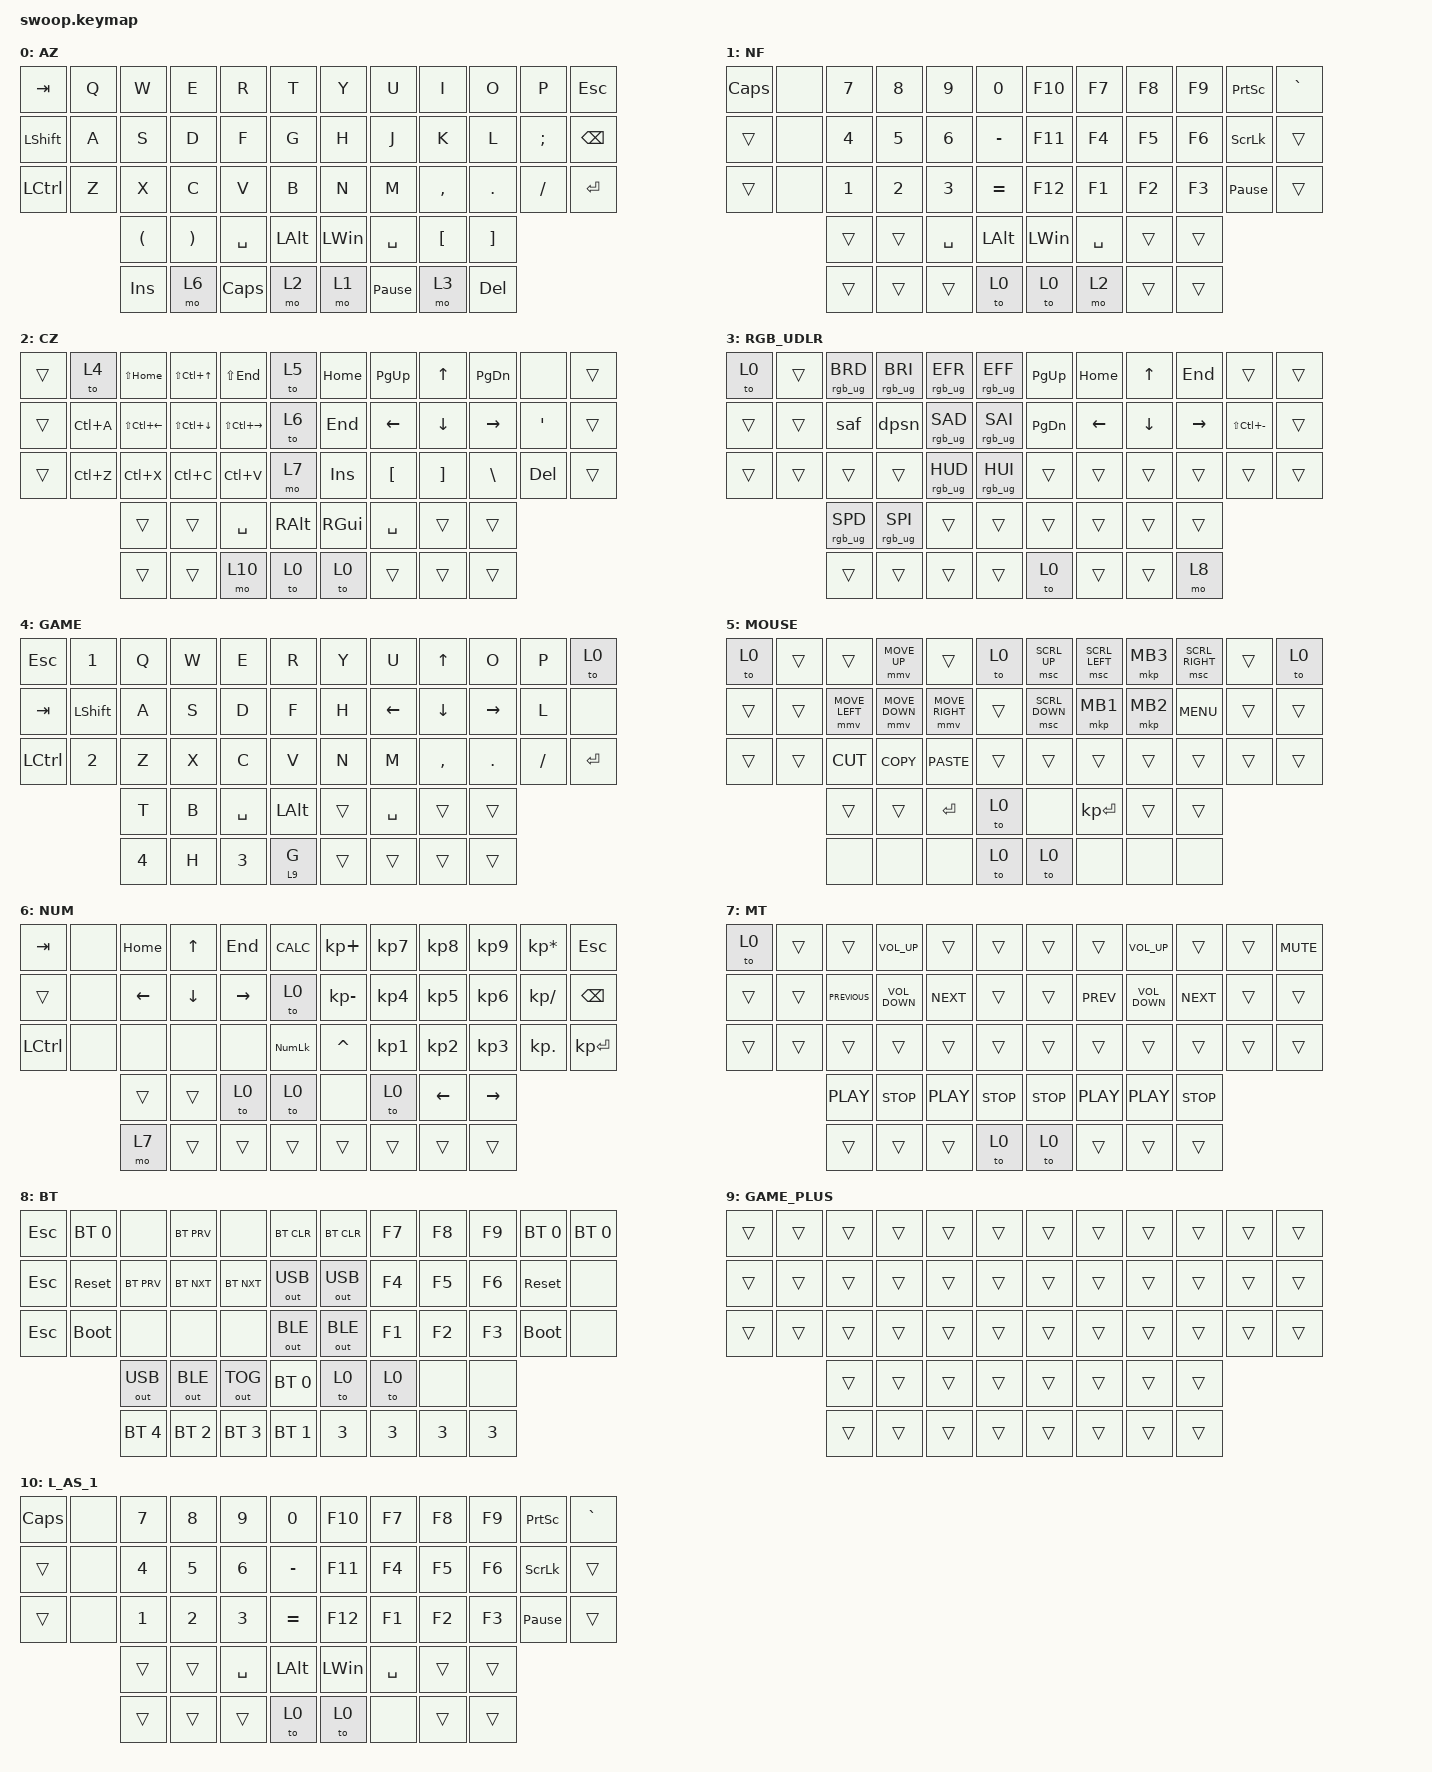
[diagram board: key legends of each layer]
#define ZMK_POINTING_DEFAULT_MOVE_VAL 600  // default: 600
#define ZMK_POINTING_DEFAULT_SCRL_VAL 10    // default: 10

#include <behaviors.dtsi>
#include <dt-bindings/zmk/bt.h>
#include <dt-bindings/zmk/keys.h>
#include <dt-bindings/zmk/outputs.h>
#include <dt-bindings/zmk/pointing.h>
#include <dt-bindings/zmk/rgb.h>

#define DEFAULT 0
#define NUMBER  1
#define SYMBOL  2
#define HOTKEY  3
#define MSE     4

#define AS(keycode) &as LS(keycode) keycode

&lt {
    tapping-term-ms = <200>;
    flavor = "balanced";
    quick-tap-ms = <170>;
};

/ {
    behaviors {
        td0: tap_dance_0 {
            compatible = "zmk,behavior-tap-dance";
            label = "TAP_DANCE_0";
            #binding-cells = <0>;
            tapping-term-ms = <200>;
            bindings = <&kp ESC>, <&kp TAB>;
        };
    };

    behaviors {
        as: auto_shift {
            compatible = "zmk,behavior-hold-tap";
            label = "AUTO_SHIFT";
            #binding-cells = <2>;
            tapping-term-ms = <200>;
            quick-tap-ms = <0>;
            flavor = "tap-preferred";
            bindings = <&kp>, <&kp>;
        };

        modcp: mod_copy {
            compatible = "zmk,behavior-mod-morph";
            label = "MOD_COPY";
            #binding-cells = <0>;
            bindings = <&as LS(C) C>, <&kp C>;

            mods = <(LGUI | RGUI)>;
        };
    };

    macros {
        dpsn: dpsn {
            compatible = "zmk,behavior-macro";
            #binding-cells = <0>;
            bindings = <&none &kp S &kp U &kp B &kp SPACE &kp T &kp LPAR &kp RPAR &kp RET &kp D &kp E &kp B &kp U &kp G &kp DOT &kp P &kp R &kp I &kp N &kp T &kp SPACE &kp T &kp H &kp I &kp S &kp W &kp O &kp R &kp K &kp B &kp O &kp O &kp K &kp DOT &kp N &kp A &kp M &kp E &kp RET &kp E &kp N &kp D &kp SPACE &kp S &kp U &kp B>;
            label = "DPSN";
        };

        saf: saf {
            compatible = "zmk,behavior-macro";
            #binding-cells = <0>;
            bindings = <&none &kp S &kp E &kp L &kp E &kp C &kp T &kp SPACE &kp STAR &kp SPACE &kp F &kp R &kp O &kp M &kp SPACE>;
            label = "SAF";
        };
    };

    combos {
        compatible = "zmk,combos";

        combo_00 {
            timeout-ms = <50>;
            key-positions = <>;
            bindings = <&kp  LSHFT>;
        };

        combo_11 {
            timeout-ms = <40>;
            key-positions = <>;
            bindings = <&mo 2>;
        };

        combo_22 {
            timeout-ms = <50>;
            key-positions = <>;
            bindings = <&kp EXCL>;
        };

        combo_33 {
            timeout-ms = <50>;
            key-positions = <>;
            bindings = <&kp AT>;
        };

        combo_44 {
            timeout-ms = <50>;
            key-positions = <>;
            bindings = <&kp HASH>;
        };
    };

    keymap {
        compatible = "zmk,keymap";

        AZ {
            label = "AZ";
            bindings = <
&kp TAB         &kp Q  &kp W                 &kp E                  &kp R         &kp T     &kp Y         &kp U            &kp I      &kp O     &kp P     &kp ESC
&kp LEFT_SHIFT  &kp A  &kp S                 &kp D                  &kp F         &kp G     &kp H         &kp J            &kp K      &kp L     &kp SEMI  &kp BACKSPACE
&kp LCTRL       &kp Z  &kp X                 &kp C                  &kp V         &kp B     &kp N         &kp M            &kp COMMA  &kp DOT   &kp FSLH  &kp ENTER
                       &kp LEFT_PARENTHESIS  &kp RIGHT_PARENTHESIS  &kp SPACE     &kp LALT  &kp LEFT_WIN  &kp SPACE        &kp LBKT   &kp RBKT
                       &kp INSERT            &mo 6                  &kp CAPSLOCK  &mo 2     &mo 1         &kp PAUSE_BREAK  &mo 3      &kp DEL
            >;
        };

        NF {
            label = "NF";
            bindings = <
&kp CAPSLOCK  &none  &kp N7  &kp N8  &kp N9     &kp NUMBER_0  &kp F10   &kp F7     &kp F8  &kp F9  &kp PRINTSCREEN  &kp GRAVE
&trans        &none  &kp N4  &kp N5  &kp N6     &kp MINUS     &kp F11   &kp F4     &kp F5  &kp F6  &kp SCROLLLOCK   &trans
&trans        &none  &kp N1  &kp N2  &kp N3     &kp EQUAL     &kp F12   &kp F1     &kp F2  &kp F3  &kp PAUSE_BREAK  &trans
                     &trans  &trans  &kp SPACE  &kp LALT      &kp LWIN  &kp SPACE  &trans  &trans
                     &trans  &trans  &trans     &to 0         &to 0     &mo 2      &trans  &trans
            >;
        };

        CZ {
            label = "CZ";
            bindings = <
&trans  &to 4      &kp LS(HOME)      &kp LS(LC(UP))    &kp LS(END)        &to 5     &kp HOME       &kp PAGE_UP       &kp UP             &kp PAGE_DOWN  &none    &trans
&trans  &kp LC(A)  &kp LS(LC(LEFT))  &kp LS(LC(DOWN))  &kp LS(LC(RIGHT))  &to 6     &kp END        &kp LEFT          &kp DOWN           &kp RIGHT      &kp SQT  &trans
&trans  &kp LC(Z)  &kp LC(X)         &kp LC(C)         &kp LC(V)          &mo 7     &kp INSERT     &kp LEFT_BRACKET  &kp RIGHT_BRACKET  &kp BACKSLASH  &kp DEL  &trans
                   &trans            &trans            &kp SPACE          &kp RALT  &kp RIGHT_GUI  &kp SPACE         &trans             &trans
                   &trans            &trans            &mo 10             &to 0     &to 0          &trans            &trans             &trans
            >;
        };

        RGB_UDLR {
            bindings = <
&to 0   &trans  &rgb_ug RGB_BRD  &rgb_ug RGB_BRI  &rgb_ug RGB_EFR  &rgb_ug RGB_EFF  &kp PG_UP  &kp HOME  &kp UP    &kp END    &trans             &trans
&trans  &trans  &saf             &dpsn            &rgb_ug RGB_SAD  &rgb_ug RGB_SAI  &kp PG_DN  &kp LEFT  &kp DOWN  &kp RIGHT  &kp LS(LC(MINUS))  &trans
&trans  &trans  &trans           &trans           &rgb_ug RGB_HUD  &rgb_ug RGB_HUI  &trans     &trans    &trans    &trans     &trans             &trans
                &rgb_ug RGB_SPD  &rgb_ug RGB_SPI  &trans           &trans           &trans     &trans    &trans    &trans
                &trans           &trans           &trans           &trans           &to 0      &trans    &trans    &mo 8
            >;
        };

        GAME {
            bindings = <
&kp ESC    &kp NUMBER_1  &kp Q         &kp W  &kp E         &kp R     &kp Y   &kp U      &kp UP     &kp O       &kp P      &to 0
&kp TAB    &kp LSHIFT    &kp A         &kp S  &kp D         &kp F     &kp H   &kp LEFT   &kp DOWN   &kp RIGHT   &kp L      &none
&kp LCTRL  &kp NUMBER_2  &kp Z         &kp X  &kp C         &kp V     &kp N   &kp M      &kp COMMA  &kp PERIOD  &kp SLASH  &kp ENTER
                         &kp T         &kp B  &kp SPACE     &kp LALT  &trans  &kp SPACE  &trans     &trans
                         &kp NUMBER_4  &kp H  &kp NUMBER_3  &lt 9 G   &trans  &trans     &trans     &trans
            >;
        };

        MOUSE {
            bindings = <
&to 0   &trans  &trans          &mmv MOVE_UP    &trans           &to 0   &msc SCRL_UP    &msc SCRL_LEFT  &mkp MB3  &msc SCRL_RIGHT  &trans  &to 0
&trans  &trans  &mmv MOVE_LEFT  &mmv MOVE_DOWN  &mmv MOVE_RIGHT  &trans  &msc SCRL_DOWN  &mkp MB1        &mkp MB2  &kp C_MENU       &trans  &trans
&trans  &trans  &kp K_CUT       &kp K_COPY      &kp K_PASTE      &trans  &trans          &trans          &trans    &trans           &trans  &trans
                &trans          &trans          &kp ENTER        &to 0   &none           &kp KP_ENTER    &trans    &trans
                &none           &none           &none            &to 0   &to 0           &none           &none     &none
            >;
        };

        NUM {
            bindings = <
&kp TAB    &none  &kp HOME  &kp UP_ARROW  &kp END    &kp K_CALC      &kp KP_PLUS   &kp KP_NUMBER_7  &kp KP_NUMBER_8  &kp KP_NUMBER_9  &kp KP_ASTERISK  &kp ESC
&trans     &none  &kp LEFT  &kp DOWN      &kp RIGHT  &to 0           &kp KP_MINUS  &kp KP_NUMBER_4  &kp KP_NUMBER_5  &kp KP_NUMBER_6  &kp KP_DIVIDE    &kp BACKSPACE
&kp LCTRL  &none  &none     &none         &none      &kp KP_NUMLOCK  &kp CARET     &kp KP_NUMBER_1  &kp KP_NUMBER_2  &kp KP_NUMBER_3  &kp KP_DOT       &kp KP_ENTER
                  &trans    &trans        &to 0      &to 0           &none         &to 0            &kp LEFT         &kp RIGHT
                  &mo 7     &trans        &trans     &trans          &trans        &trans           &trans           &trans
            >;
        };

        MT {
            bindings = <
&to 0   &trans  &trans          &kp C_VOL_UP       &trans      &trans      &trans      &trans      &kp C_VOLUME_UP    &trans      &trans  &kp C_MUTE
&trans  &trans  &kp C_PREVIOUS  &kp C_VOLUME_DOWN  &kp C_NEXT  &trans      &trans      &kp C_PREV  &kp C_VOLUME_DOWN  &kp C_NEXT  &trans  &trans
&trans  &trans  &trans          &trans             &trans      &trans      &trans      &trans      &trans             &trans      &trans  &trans
                &kp C_PLAY      &kp C_STOP         &kp C_PLAY  &kp C_STOP  &kp C_STOP  &kp C_PLAY  &kp C_PLAY         &kp C_STOP
                &trans          &trans             &trans      &to 0       &to 0       &trans      &trans             &trans
            >;
        };

        BT {
            label = "BT";
            bindings = <
&kp ESC  &bt BT_SEL 0  &none         &bt BT_PRV    &none         &bt BT_CLR    &bt BT_CLR    &kp F7        &kp F8        &kp F9        &bt BT_SEL 0  &bt BT_SEL 0
&kp ESC  &sys_reset    &bt BT_PRV    &bt BT_NXT    &bt BT_NXT    &out OUT_USB  &out OUT_USB  &kp F4        &kp F5        &kp F6        &sys_reset    &none
&kp ESC  &bootloader   &none         &none         &none         &out OUT_BLE  &out OUT_BLE  &kp F1        &kp F2        &kp F3        &bootloader   &none
                       &out OUT_USB  &out OUT_BLE  &out OUT_TOG  &bt BT_SEL 0  &to 0         &to 0         &none         &none
                       &bt BT_SEL 4  &bt BT_SEL 2  &bt BT_SEL 3  &bt BT_SEL 1  &kp NUMBER_3  &kp NUMBER_3  &kp NUMBER_3  &kp NUMBER_3
            >;
        };

        GAME_PLUS {
            bindings = <
&trans  &trans  &trans  &trans  &trans  &trans  &trans  &trans  &trans  &trans  &trans  &trans
&trans  &trans  &trans  &trans  &trans  &trans  &trans  &trans  &trans  &trans  &trans  &trans
&trans  &trans  &trans  &trans  &trans  &trans  &trans  &trans  &trans  &trans  &trans  &trans
                &trans  &trans  &trans  &trans  &trans  &trans  &trans  &trans
                &trans  &trans  &trans  &trans  &trans  &trans  &trans  &trans
            >;
        };

        L_AS_1 {
            bindings = <
&kp CAPSLOCK  &none  &kp N7        &kp N8        &kp N9        &kp N0        &kp F10       &kp F7     &kp F8  &kp F9  &kp PRINTSCREEN  &kp GRAVE
&trans        &none  &kp NUMBER_4  &kp N5        &kp NUMBER_6  &kp MINUS     &kp F11       &kp F4     &kp F5  &kp F6  &kp SLCK         &trans
&trans        &none  &kp NUMBER_1  &kp NUMBER_2  &kp NUMBER_3  &kp EQUAL     &kp F12       &kp F1     &kp F2  &kp F3  &kp PAUSE_BREAK  &trans
                     &trans        &trans        &kp SPACE     &kp LEFT_ALT  &kp LEFT_WIN  &kp SPACE  &trans  &trans
                     &trans        &trans        &trans        &to 0         &to 0         &none      &trans  &trans
            >;
        };
    };
};
